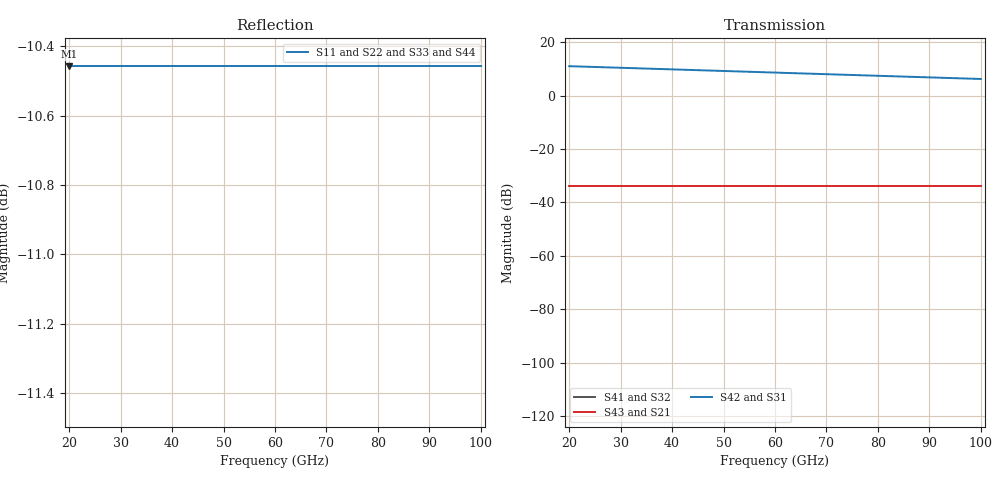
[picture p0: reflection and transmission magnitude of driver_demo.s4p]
! Created with skrf 1.12.0 (http://scikit-rf.org).
# Hz S RI R 50.0
! Port[1] = in_plus
! Port[2] = in_minus
! Port[3] = out_plus
! Port[4] = out_minus
!freq ReS11 ImS11 ReS12 ImS12 ReS13 ImS13
! ReS14 ImS14
! ReS21 ImS21 ReS22 ImS22 ReS23 ImS23
! ReS24 ImS24
! ReS31 ImS31 ReS32 ImS32 ReS33 ImS33
! ReS34 ImS34
! ReS41 ImS41 ReS42 ImS42 ReS43 ImS43
! ReS44 ImS44
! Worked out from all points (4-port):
!   41 points, 20 GHz to 100 GHz, reference 50 ohm
!   strongest paths, dB at 20 GHz, 40 GHz, 60 GHz, 80 GHz, 100 GHz:
!     S42: 11.0, 9.8, 8.6, 7.4, 6.2
!     S31: 11.0, 9.8, 8.6, 7.4, 6.2
!     S43: -34.0, -34.0, -34.0, -34.0, -34.0
!     S21: -34.0, -34.0, -34.0, -34.0, -34.0
!     S41: -, -, -, -, -
!     S32: -, -, -, -, -
!   lowest |S11| = -10.5 dB at 20 GHz (marker M1), VSWR 1.86, Z = 92.9 + j0 ohm
!   |S11| at or under -10 dB: start of sweep to end of sweep
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2e10  0.3 0  0.02 0  0.03 0  0 0
      0.02 0  0.3 0  0 0  0.03 0
      -1.096 -3.374  0 0  0.3 0  0.02 0
      0 0  -1.096 -3.374  0.02 0  0.3 0
3.4e10  0.3 0  0.02 0  0.03 0  0 0
        0.02 0  0.3 0  0 0  0.03 0
        -3.215 0.2023  0 0  0.3 0  0.02 0
        0 0  -3.215 0.2023  0.02 0  0.3 0
4.8e10  0.3 0  0.02 0  0.03 0  0 0
        0.02 0  0.3 0  0 0  0.03 0
        -0.5479 2.872  0 0  0.3 0  0.02 0
        0 0  -0.5479 2.872  0.02 0  0.3 0
6e10  0.3 0  0.02 0  0.03 0  0 0
      0.02 0  0.3 0  0 0  0.03 0
      2.177 1.582  0 0  0.3 0  0.02 0
      0 0  2.177 1.582  0.02 0  0.3 0
6.8e10  0.3 0  0.02 0  0.03 0  0 0
        0.02 0  0.3 0  0 0  0.03 0
        2.527 -0.3192  0 0  0.3 0  0.02 0
        0 0  2.527 -0.3192  0.02 0  0.3 0
8.4e10  0.3 0  0.02 0  0.03 0  0 0
        0.02 0  0.3 0  0 0  0.03 0
        -0.1432 -2.276  0 0  0.3 0  0.02 0
        0 0  -0.1432 -2.276  0.02 0  0.3 0
1e11  0.3 0  0.02 0  0.03 0  0 0
      0.02 0  0.3 0  0 0  0.03 0
      -2.042 -7.5e-16  0 0  0.3 0  0.02 0
      0 0  -2.042 -7.5e-16  0.02 0  0.3 0
